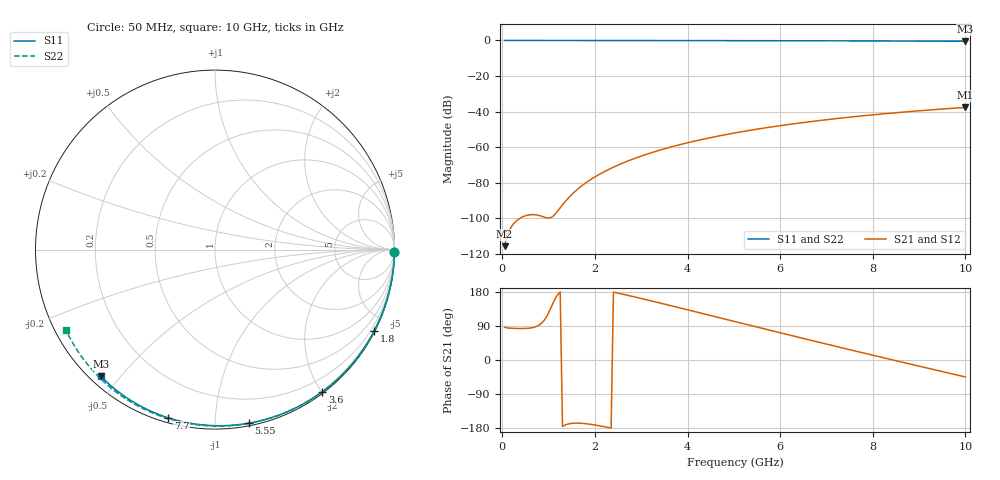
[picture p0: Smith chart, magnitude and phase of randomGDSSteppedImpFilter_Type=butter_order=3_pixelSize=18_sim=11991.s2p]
! freq	dB(S11)	phase(S11)	dB(S12)	phase(S12)
!  dB(S21)	phase(S21)	dB(S22)	phase(S22)
!S-par simulation data
#  GHz  S  DB  R 50
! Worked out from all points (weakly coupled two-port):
!   200 points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, 50 MHz to 10 GHz, reference 50 ohm
!   highest |S21| = -37.68 dB at 10 GHz (marker M1); lowest = -115.8 dB at 50 MHz (marker M2)
!   lowest |S11| = -0.4 dB at 10 GHz (marker M3), VSWR 39.03, Z = 1.53 - j22.2 ohm
!   |S11| at or under -10 dB: nowhere
!   |S22| runs from -0.5 to 0.0 dB; largest |S21 - S12| = 0
!   S11 on the Smith chart (normalised r, x): 50 MHz: open; 1.8 GHz: 0.04, -4.15; 3.6 GHz: 0.02, -2.01; 5.55 GHz: 0.02, -1.21; 7.7 GHz: 0.02, -0.76; 10 GHz: 0.03, -0.44
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0.05  -0.00 -0.8  -115.80 86.7  -115.80 86.7  -0.00 -0.9
0.45  -0.01 -6.9  -99.18 83.0  -99.18 83.0  -0.01 -7.9
0.9  -0.02 -13.7  -99.40 103.9  -99.40 103.9  -0.02 -15.6
1.3  -0.02 -19.7  -92.54 -175.4  -92.54 -175.4  -0.03 -22.5
1.75  -0.03 -26.3  -81.16 -167.4  -81.16 -167.4  -0.04 -30.1
1.8  -0.03 -27.1  -80.20 -168.0  -80.20 -168.0  -0.04 -31.0
2.15  -0.04 -32.2  -74.58 -174.7  -74.58 -174.7  -0.05 -36.8
2.5  -0.05 -37.3  -70.15 176.4  -70.15 176.4  -0.05 -42.6
2.9  -0.06 -43.1  -66.01 165.3  -66.01 165.3  -0.06 -49.2
3.4  -0.07 -50.1  -61.76 150.6  -61.76 150.6  -0.08 -57.2
3.6  -0.07 -52.9  -60.27 144.6  -60.27 144.6  -0.08 -60.4
3.9  -0.08 -57.1  -58.23 135.5  -58.23 135.5  -0.09 -65.1
4.3  -0.09 -62.6  -55.80 123.4  -55.80 123.4  -0.10 -71.3
5.05  -0.11 -72.6  -51.93 100.6  -51.93 100.6  -0.13 -82.6
5.55  -0.13 -79.1  -49.73 85.4  -49.73 85.4  -0.15 -89.9
6.1  -0.15 -86.0  -47.60 68.8  -47.60 68.8  -0.17 -97.9
6.7  -0.18 -93.5  -45.55 50.9  -45.55 50.9  -0.21 -106.4
7.2  -0.21 -99.6  -44.02 36.1  -44.02 36.1  -0.24 -113.3
7.7  -0.24 -105.5  -42.64 21.4  -42.64 21.4  -0.27 -120.2
8.35  -0.29 -113.2  -41.02 2.5  -41.02 2.5  -0.33 -129.1
9.2  -0.36 -122.9  -39.18 -22.0  -39.18 -22.0  -0.41 -140.7
10  -0.45 -132.0  -37.68 -44.8  -37.68 -44.8  -0.51 -151.7
